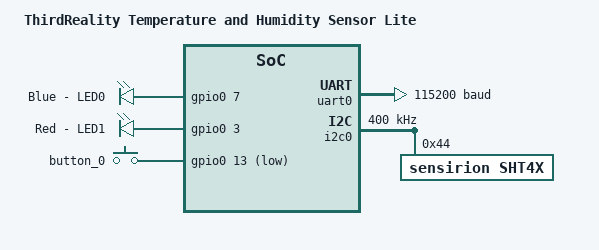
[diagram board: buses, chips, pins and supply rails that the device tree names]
/*
 * Copyright (c) 2025-2026 MASSDRIVER EI (massdriver.space)
 * SPDX-License-Identifier: Apache-2.0
 */

/dts-v1/;

#include <bflb/bl704l.dtsi>
#include "3r_tnh_sensor_lite-pinctrl.dtsi"

/ {
	model = "ThirdReality Temperature and Humidity Sensor Lite";
	compatible = "bflb,bl704l";

	chosen {
		zephyr,flash = &flash0;
		zephyr,code-partition = &slot0_partition;
		zephyr,itcm = &itcm;
		zephyr,sram = &sram0;
		zephyr,console = &uart0;
		zephyr,shell-uart = &uart0;
	};

	aliases {
		led0 = &blue_led;
		sw0 = &button_0;
	};

	leds {
		compatible = "gpio-leds";

		blue_led: led_0 {
			gpios = <&gpio0 7 GPIO_ACTIVE_HIGH>;
			label = "Blue - LED0";
		};

		red_led: led_1 {
			gpios = <&gpio0 3 GPIO_ACTIVE_HIGH>;
			label = "Red - LED1";
		};
	};

	buttons {
		compatible = "gpio-keys";

		button_0: sw0 {
			gpios = <&gpio0 13 GPIO_ACTIVE_LOW>;
			zephyr,code = <INPUT_KEY_0>;
		};
	};
};

&cpu0 {
	clock-frequency = <DT_FREQ_M(128)>;
};

&flashctrl {
	flash0: flash@23000000 {
		compatible = "soc-nv-flash", "zb,zb25d80d";
		reg = <0x23000000 (0x200000 - 0x2000)>;
		write-block-size = <256>;
		erase-block-size = <DT_SIZE_K(4)>;

		partitions {
			compatible = "fixed-partitions";
			#address-cells = <1>;
			#size-cells = <1>;

			slot0_partition: partition@0 {
				label = "image-0";
				reg = <0x00000000 0x100000>;
				read-only;
			};

			storage_partition: partition@100000 {
				label = "storage";
				reg = <0x00100000 (0x100000 - 0x2000)>;
			};
		};
	};
};

&gpio0 {
	status = "okay";
};

&uart0 {
	status = "okay";
	current-speed = <115200>;

	pinctrl-0 = <&uart0_default>;
	pinctrl-1 = <&uart0_sleep>;
	pinctrl-names = "default", "sleep";
};

&i2c0 {
	status = "okay";
	clock-frequency = <I2C_BITRATE_FAST>;

	pinctrl-0 = <&i2c0_default>;
	pinctrl-names = "default";

	sht4x@44 {
		status = "okay";
		compatible = "sensirion,sht4x";
		reg = <0x44>;
		repeatability = <2>;
	};
};
